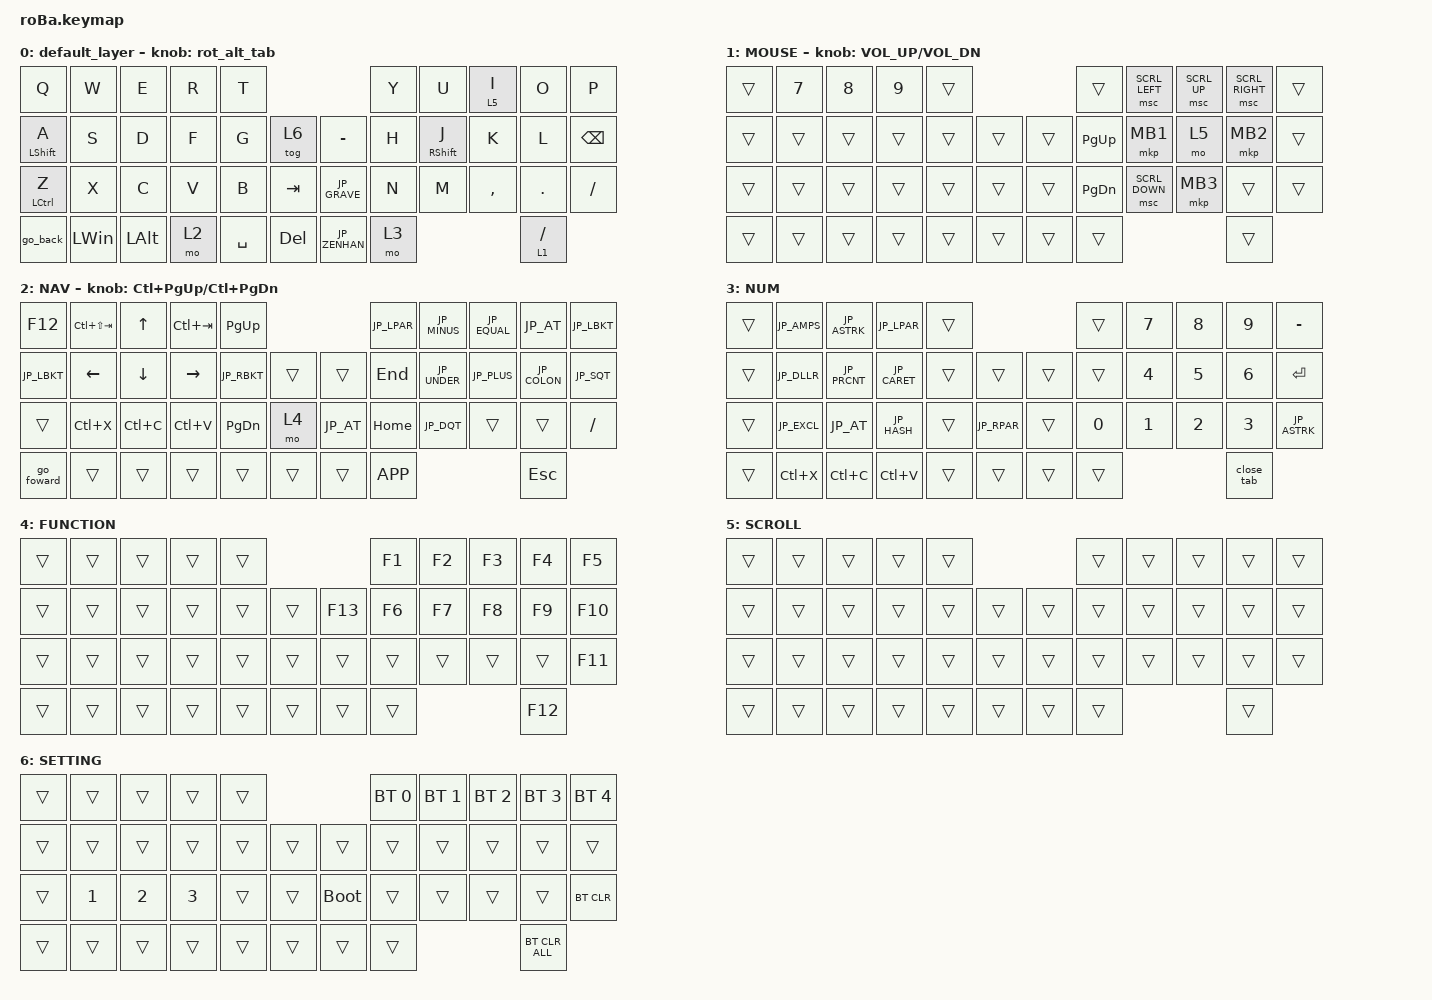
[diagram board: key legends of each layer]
#include <behaviors.dtsi>
#include <dt-bindings/zmk/bt.h>
#include <dt-bindings/zmk/keys.h>
#include <dt-bindings/zmk/pointing.h>
#include "keys_jp.h"

&mt {
    flavor = "balanced";
    quick-tap-ms = <175>;
    require-prior-idle-ms = <125>;
};

&trackball {
    automouse-layer = <1>;
    scroll-layers = <5>;
};

/ {
    behaviors {
        // エンコーダ回転でAlt+Tabウィンドウ切替(tri-state):
        // 回し始めでAlt押込→Tab送出→確定は ①ボールに触れる(AML発動) ②何かキーを押す ③停止後1.5秒
        // (停止後1.5秒はEDAKAI fork修正: k_work_reschedule化で回転のたびにタイマー延長)
        swapper_fwd: swapper_fwd {
            compatible = "zmk,behavior-tri-state";
            #binding-cells = <0>;
            bindings = <&kt LALT>, <&kp TAB>, <&kt LALT>;
            timeout-ms = <1500>;
        };

        swapper_bck: swapper_bck {
            compatible = "zmk,behavior-tri-state";
            #binding-cells = <0>;
            bindings = <&kt LALT>, <&kp LS(TAB)>, <&kt LALT>;
            timeout-ms = <1500>;
        };

        rot_alt_tab: rot_alt_tab {
            compatible = "zmk,behavior-sensor-rotate";
            #sensor-binding-cells = <0>;
            bindings = <&swapper_fwd>, <&swapper_bck>;
        };
    };

    macros {
        close_tab: close_tab {
            compatible = "zmk,behavior-macro";
            #binding-cells = <0>;
            bindings = <&kp LC(W)>;
            label = "CLOSE_TAB";
        };

        go_back: go_back {
            compatible = "zmk,behavior-macro";
            #binding-cells = <0>;
            bindings = <&kp LC(Z)>;
            label = "GO_BACK";
        };

        go_foward: go_foward {
            compatible = "zmk,behavior-macro";
            #binding-cells = <0>;
            bindings = <&kp LC(Y)>;
            label = "GO_FOWARD";
        };
    };

    keymap {
        compatible = "zmk,keymap";

        // L0: Keyball44準拠ベース v3
        // Shift=左下角+Z長押し / Ctrl=A長押し / Tab=左中央下キー / エンコーダ押込(左中央上)=設定層トグル
        // IME=右親指内側(半角/全角) / BS=右小指 / /=右親指最外(長押しでL1マウス)
        // J長押し=右Shift(大文字A用・逆手Shift) / 右小指下段=/(JISの？・用)

        default_layer {
            bindings = <
&kp Q             &kp W         &kp E         &kp R  &kp T                                  &kp Y  &kp U  &lt 5 I    &kp O    &kp P
&mt LEFT_SHIFT A  &kp S         &kp D         &kp F  &kp G      &tog 6       &kp MINUS      &kp H  &mt RIGHT_SHIFT J  &kp K      &kp L    &kp BACKSPACE
&mt LCTRL Z       &kp X         &kp C         &kp V  &kp B      &kp TAB      &kp JP_GRAVE   &kp N  &kp M  &kp COMMA  &kp DOT  &kp SLASH
&go_back          &kp LEFT_WIN  &kp LEFT_ALT  &mo 2  &kp SPACE  &kp DEL      &kp JP_ZENHAN  &mo 3                             &lt 1 SLASH
            >;

            sensor-bindings = <&rot_alt_tab>;
        };

        // L1: マウス(オートマウス着地層450ms) K長押し=ボールスクロール

        MOUSE {
            bindings = <
&trans  &kp N7  &kp N8  &kp N9  &trans                      &trans     &msc SCRL_LEFT  &msc SCRL_UP  &msc SCRL_RIGHT  &trans
&trans  &trans  &trans  &trans  &trans  &trans      &trans  &kp PG_UP  &mkp MB1        &mo 5         &mkp MB2         &trans
&trans  &trans  &trans  &trans  &trans  &trans      &trans  &kp PG_DN  &msc SCRL_DOWN  &mkp MB3      &trans           &trans
&trans  &trans  &trans  &trans  &trans  &trans      &trans  &trans                                                    &trans
            >;

            sensor-bindings = <&inc_dec_kp C_VOL_UP C_VOL_DN>;
        };

        // L2: ナビ+記号 = Keyball L2準拠(JIS対応) 矢印ESDF/Copy・Paste・Cut/右手記号/App/Esc

        NAV {
            bindings = <
&kp F12           &kp LC(LS(TAB))  &kp UP_ARROW    &kp LC(TAB)      &kp PG_UP                                 &kp JP_LPAR  &kp JP_MINUS  &kp JP_EQUAL  &kp JP_AT     &kp JP_LBKT
&kp JP_LBKT       &kp LEFT_ARROW   &kp DOWN_ARROW  &kp RIGHT_ARROW  &kp JP_RBKT        &trans      &trans     &kp END      &kp JP_UNDER  &kp JP_PLUS   &kp JP_COLON  &kp JP_SQT
&trans            &kp LC(X)        &kp LC(C)       &kp LC(V)        &kp PG_DN          &mo 4       &kp JP_AT  &kp HOME     &kp JP_DQT    &trans        &trans        &kp SLASH
&go_foward        &trans           &trans          &trans           &trans             &trans      &trans     &kp K_APP                                              &kp ESCAPE
            >;

            sensor-bindings = <&inc_dec_kp LC(PG_UP) LC(PG_DN)>;
        };

        // L3: 右手テンキー + 左手に同位置ミラーのShift記号(JIS対応) +の下に*

        NUM {
            bindings = <
&trans  &kp JP_AMPS  &kp JP_ASTRK  &kp JP_LPAR   &trans                           &trans  &kp N7  &kp N8  &kp N9  &kp MINUS
&trans  &kp JP_DLLR  &kp JP_PRCNT  &kp JP_CARET  &trans  &trans           &trans  &trans  &kp N4  &kp N5  &kp N6  &kp ENTER
&trans  &kp JP_EXCL  &kp JP_AT     &kp JP_HASH   &trans  &kp JP_RPAR      &trans  &kp N0  &kp N1  &kp N2  &kp N3  &kp JP_ASTRK
&trans  &kp LC(X)    &kp LC(C)     &kp LC(V)     &trans  &trans           &trans  &trans                          &close_tab
            >;
        };

        // L4: ファンクションキー (L2中に左中央下キーで一時アクセス)

        FUNCTION {
            bindings = <
&trans  &trans  &trans  &trans  &trans                       &kp F1  &kp F2  &kp F3  &kp F4  &kp F5
&trans  &trans  &trans  &trans  &trans  &trans      &kp F13  &kp F6  &kp F7  &kp F8  &kp F9  &kp F10
&trans  &trans  &trans  &trans  &trans  &trans      &trans   &trans  &trans  &trans  &trans  &kp F11
&trans  &trans  &trans  &trans  &trans  &trans      &trans   &trans                          &kp F12
            >;
        };

        // L5: スクロール層 (Iキー長押しでボール=ホイール)

        SCROLL {
            bindings = <
&trans  &trans  &trans  &trans  &trans                      &trans  &trans  &trans  &trans  &trans
&trans  &trans  &trans  &trans  &trans  &trans      &trans  &trans  &trans  &trans  &trans  &trans
&trans  &trans  &trans  &trans  &trans  &trans      &trans  &trans  &trans  &trans  &trans  &trans
&trans  &trans  &trans  &trans  &trans  &trans      &trans  &trans                          &trans
            >;
        };

        // L6: 設定層 (IMEキー長押し) Bluetooth切替・bootloader

        SETTING {
            bindings = <
&trans  &trans        &trans        &trans        &trans                           &bt BT_SEL 0  &bt BT_SEL 1  &bt BT_SEL 2  &bt BT_SEL 3  &bt BT_SEL 4
&trans  &trans        &trans        &trans        &trans  &trans      &trans       &trans        &trans        &trans        &trans        &trans
&trans  &kp NUMBER_1  &kp NUMBER_2  &kp NUMBER_3  &trans  &trans      &bootloader  &trans        &trans        &trans        &trans        &bt BT_CLR
&trans  &trans        &trans        &trans        &trans  &trans      &trans       &trans                                                  &bt BT_CLR_ALL
            >;
        };
    };
};
